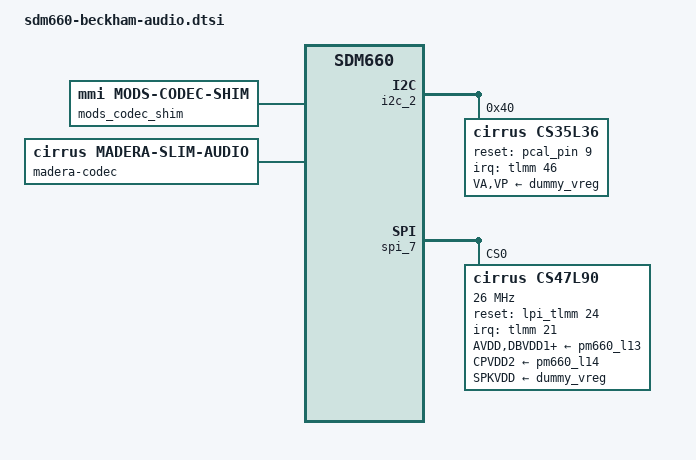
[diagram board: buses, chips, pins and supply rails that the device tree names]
/* Copyright (c) 2017, Motorola Mobility Inc. All rights reserved.
 *
 * This program is free software; you can redistribute it and/or modify
 * it under the terms of the GNU General Public License version 2 and
 * only version 2 as published by the Free Software Foundation.
 *
 * This program is distributed in the hope that it will be useful,
 * but WITHOUT ANY WARRANTY; without even the implied warranty of
 * MERCHANTABILITY or FITNESS FOR A PARTICULAR PURPOSE.  See the
 * GNU General Public License for more details.
 */

&tlmm {
	/delete-node/ mdss_dp_usbplug_cc_active;
	/delete-node/ mdss_dp_usbplug_cc_suspend;
	/delete-node/ cs35l35_reset_default;
	/delete-node/ cs35l35_irq_default;
	/delete-node/ marley_irq_default;
	/delete-node/ marley_reset_default;

	cs35l36_irq_default: cs35l36_irq_default {
		config {
			pins = "gpio46";
			drive-strength = <2>;
			bias-pull-up;
		};
	};

	moon_irq_default: moon_irq_default {
		config {
			pins = "gpio21";
			drive-strength = <2>;
			bias-pull-up;
			input-enable;
		};
	};

	gpio_usb_aud_det_n: gpio_usb_aud_det_n {
		config {
			pins = "gpio92";
			bias-pull-down;
			drive-strength = <2>;
		};
	};
	usb_aud_sw_sel: usb_aud_sw_sel {
		config {
			pins = "gpio41";
			bias-pull-down;
			drive-strength = <2>;
		};
	};
};

&lpi_tlmm {
	lpi_moon_reset_default: moon_reset_default {
		config {
			pins = "gpio24";
			output-high;
			bias-pull-up;
			drive-strength = <2>;
		};
	};
};

&soc {
	/delete-node/ audio_ext_clk;

	sound-madera {
		/delete-property/ asoc-platform;
		/delete-property/ asoc-platform-names;
		/delete-property/ qcom,audio-routing;

		asoc-platform = <&pcm0>, <&pcm1>, <&pcm2>, <&voip>, <&voice>,
				<&loopback>, <&compress>, <&hostless>,
				<&afe>, <&lsm>, <&routing>, <&cpe>, <&compr>,
				<&pcm_noirq>, <&cs47l90>;
		asoc-platform-names = "msm-pcm-dsp.0", "msm-pcm-dsp.1",
				"msm-pcm-dsp.2", "msm-voip-dsp",
				"msm-pcm-voice", "msm-pcm-loopback",
				"msm-compress-dsp", "msm-pcm-hostless",
				"msm-pcm-afe", "msm-lsm-client",
				"msm-pcm-routing", "msm-cpe-lsm",
				"msm-compr-dsp", "msm-pcm-dsp-noirq",
				"cs47l90-codec";
		qcom,audio-routing =
			"IN2AL", "MICBIAS2A",
			"IN1AL", "MICBIAS2B",
			"IN2R",  "MICBIAS2C",
			"IN1AR", "MICBIAS2D",
			"IN1BR", "MICBIAS1A",
			"IN1BR", "MICBIAS1B";
	};

	mods_codec_shim {
		compatible = "mmi,mods-codec-shim";
	};
};

&slim_aud {
	/delete-node/ tasha_codec;
	/delete-node/ tavil_codec;
	madera-codec {
		compatible = "cirrus,madera-slim-audio";
		elemental-addr = [00 00 64 63 FA 01];
	};
};

&i2c_2 {
	/delete-node/ cs35l35@40;
	cs35l36@40 {
		status = "ok";
		compatible = "cirrus,cs35l36";
		reg = <0x40>;
		reset-gpios = <&pcal_pin 9 0>;
		irq-gpios = <&tlmm 46 0>;
		interrupt-parent = <&tlmm>;
		VA-supply = <&dummy_vreg>;
		VP-supply = <&dummy_vreg>;

		pinctrl-names = "default";
		pinctrl-0 = <&cs35l36_irq_default>;

		cirrus,left-channel-amp;
		cirrus,boost-ind-nanohenry = <1000>; /* 1uH */
		cirrus,boost-ctl-millivolt = <10000>;
		cirrus,boost-peak-milliamp = <4500>;
		cirrus,amp-gain-zc;
		cirrus,ldm-mode-select = <0x01>;
		cirrus,pdm-ldm-exit;
		cirrus,pdm-ldm-enter;
		cirrus,weak-fet-delay = <0x04>;
		cirrus,weak-fet-thld = <0x01>;
		cirrus,temp-warn-threshold = <0x01>;

		cirrus,irq-config {
			cirrus,irq-drive-select = <0x01>;
			cirrus,irq-polarity = <0x01>;
			cirrus,irq-gpio-select = <0x01>;
			cirrus,irq-output-enable = <0x01>;
			cirrus,irq-src-select = <0x01>;
		};
		cirrus,asp-tx-config {
			cirrus,tx1-config = /bits/ 8 <0x00 0x18>;
			cirrus,tx2-config = /bits/ 8 <0x01 0x19>;
		};
	};
};

&spi_7 {
	/delete-node/ cs47l35@0;
	cs47l90: cs47l90@0 {
		compatible = "cirrus,cs47l90";
		spi-max-frequency = <26000000>;
		reg = <0x0>;
		interrupt-parent = <&tlmm>;
		interrupts = <21 0>;
		interrupt-controller;
		#interrupt-cells = <2>;
		reset-gpios = <&lpi_tlmm 24 0>;
		pinctrl-names = "default";
		pinctrl-0 = <&moon_irq_default &lpi_moon_reset_default>;

		AVDD-supply = <&pm660_l13>;
		DBVDD1-supply = <&pm660_l13>;
		DBVDD2-supply = <&pm660_l13>;
		CPVDD-supply = <&pm660_l13>;
		CPVDD1-supply = <&pm660_l13>;
		CPVDD2-supply = <&pm660_l14>;
		DCVDD-supply = <&pm660_l13>;
		SPKVDD-supply = <&dummy_vreg>;

		gpio-controller;
		#gpio-cells = <2>;

		cirrus,gpio-defaults = <
			0x00002000 0x0000f000 /* CDC_DEBUG / GPIO1 */
			0x00002000 0x0000f000 /* ADSP_WAKE / GPIO2 */
			0x00000040 0x00000000 /* SB_MCLK / GPIO3 */
			0xffffffff 0xffffffff /* USBC-HS / GPIO4 */
			0xffffffff 0xffffffff /* USBC-HS / GPIO5 */
			0xffffffff 0xffffffff /* GPIO6 */
			0xffffffff 0xffffffff /* GPIO7 */
			0xffffffff 0xffffffff /* GPIO8 */
			0xffffffff 0xffffffff /* GPIO9 */
			0xffffffff 0xffffffff /* GPIO10 */
			0xffffffff 0xffffffff /* GPIO11 */
			0xffffffff 0xffffffff /* GPIO12 */
			0xffffffff 0xffffffff /* GPIO13 */
			0xffffffff 0xffffffff /* GPIO14 */
			0x00002000 0x0000f000 /* AIF1TXDAT / GPIO15 */
			0x00002000 0x0000f000 /* AIF1BCLK / GPIO16 */
			0x00002000 0x0000f000 /* AIF1RXDAT / GPIO17 */
			0x00002000 0x0000f000 /* AIF1LRCLK / GPIO18 */
			0x00002000 0x0000f000 /* AIF2TXDAT / GPIO19 */
			0x00002000 0x0000f000 /* AIF2BCLK / GPIO20 */
			0x00002000 0x0000f000 /* AIF2RXDAT / GPIO21 */
			0x00002000 0x0000f000 /* AIF2LRCLK / GPIO22 */
			0xffffffff 0xffffffff /* GPIO23 */
			0xffffffff 0xffffffff /* GPIO24 */
			0xffffffff 0xffffffff /* GPIO25 */
			0xffffffff 0xffffffff /* GPIO26 */
			0xffffffff 0xffffffff /* GPIO27 */
			0xffffffff 0xffffffff /* GPIO28 */
			0xffffffff 0xffffffff /* GPIO29 */
			0xffffffff 0xffffffff /* GPIO30 */
			0xffffffff 0xffffffff /* GPIO31 */
			0xffffffff 0xffffffff /* GPIO32 */
			0xffffffff 0xffffffff /* GPIO33 */
			0xffffffff 0xffffffff /* GPIO34 */
			0xffffffff 0xffffffff /* GPIO35 */
			0xffffffff 0xffffffff /* GPIO36 */
			0x00002000 0x0000f000 /* PDM_CLK / GPIO37 */
			0x00002000 0x0000f000 /* PDM_DAT / GPIO38 */
		>;

		cirrus,micbias1 = <2600 1 1 1 1 1 1 0>;
		cirrus,micbias2 = <2600 1 1 1 1 1 1 0>;
		cirrus,inmode = <
			0 0 0 0
			0 0 0 0
		>;
		cirrus,out-mono = <0 0 0 0 0 0>;

		cirrus,accdet {
			#address-cells = <1>;
			#size-cells = <0>;

			acc@1 {
				reg = <1>;

				cirrus,micd-force-micbias;
				cirrus,micd-detect-debounce-ms = <300>;
				cirrus,jd-wake-time= <3000>;
				cirrus,micd-bias-start-time = <8>;
				cirrus,micd-rate = <6>;
				cirrus,disable-jd2-on-lineout;
				cirrus,micd-dbtime = <0x1>;
				cirrus,micd-ranges = <
					70 0xE2		/* KEY_MEDIA */
					180 0x246	/* KEY_VOICECOMMAND */
					290 0x73	/* KEY_VOLUMEUP */
					680 0x72	/* KEY_VOLUMEDOWN */
				>;
				cirrus,micd-configs = <
					1 0 1 1 0
					0 1 0 0 1
				>;
				cirrus,micd-pol-gpios = <&cs47l90 3 0>,
							<&cs47l90 4 0>;
			};
		};

		adsps {
			#address-cells = <1>;
			#size-cells = <0>;
			adsp@0ffe00 {
				reg = <0x0ffe00>;
				firmware {
					ultrasound {
						wlf,wmfw-file = "ultrasound";
						wlf,bin-file = "ultrasound";
						wlf,compr-caps = <1 1 4 1 96000>;
					};
				};
			};
			adsp@17fe00 {
				reg = <0x17fe00>;
				firmware {
					frontend {
						wlf,wmfw-file = "aov-frontend";
						wlf,bin-file = "aov-vrgain";
						wlf,compr-caps = <1 1 4 1 96000>;
					};
				};
			};
			adsp@1ffe00 {
				reg = <0x1ffe00>;
				firmware {
					aov {
						wlf,wmfw-file = "aov-control";
						wlf,bin-file = "aov-model";
						wlf,compr-caps = <1 1 4 1 96000>;
					};
				};
			};
		};
	};
};

&pm660_pdphy {
	pinctrl-name = "default";
	pinctrl-0 = <&usb_aud_sw_sel>;

	gpios = <&tlmm 92 0>,  /* USB_AUD_DET_N, output-high */
		<&tlmm 41 0>;  /* USB_AUD_SW_SEL, output-low */

	gpio-labels = "gpio_usb_aud_det_n",
		"gpio_aud_sw_sel";
};
